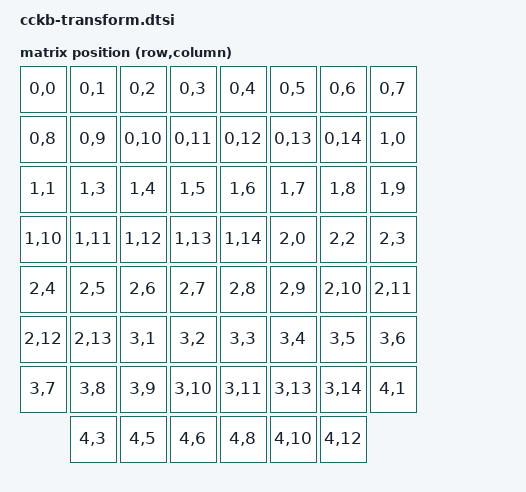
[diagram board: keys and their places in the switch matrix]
/*
 * **生成物。手で直さない。** python -m foundry.zmk cckb
 * 配列（layout.json）と spec.py の行列設定から作る。基板と同じ割り当て。
 * 並び順はキーマップと同じ（部品を左から、部品の中は上の段から左→右）。
 */

#include <dt-bindings/zmk/matrix_transform.h>

/ {
	chosen {
		zmk,matrix-transform = &default_transform;
	};

	default_transform: keymap_transform_0 {
		compatible = "zmk,matrix-transform";
		columns = <15>;
		rows = <5>;
		map = <
			/* main（col-offset 0） */
			RC(0,0) RC(0,1) RC(0,2) RC(0,3) RC(0,4) RC(0,5) RC(0,6) RC(0,7)
			RC(0,8) RC(0,9) RC(0,10) RC(0,11) RC(0,12) RC(0,13) RC(0,14) RC(1,0)
			RC(1,1) RC(1,3) RC(1,4) RC(1,5) RC(1,6) RC(1,7) RC(1,8) RC(1,9)
			RC(1,10) RC(1,11) RC(1,12) RC(1,13) RC(1,14) RC(2,0) RC(2,2) RC(2,3)
			RC(2,4) RC(2,5) RC(2,6) RC(2,7) RC(2,8) RC(2,9) RC(2,10) RC(2,11)
			RC(2,12) RC(2,13) RC(3,1) RC(3,2) RC(3,3) RC(3,4) RC(3,5) RC(3,6)
			RC(3,7) RC(3,8) RC(3,9) RC(3,10) RC(3,11) RC(3,13) RC(3,14) RC(4,1)
			RC(4,3) RC(4,5) RC(4,6) RC(4,8) RC(4,10) RC(4,12)
		>;
	};
};
